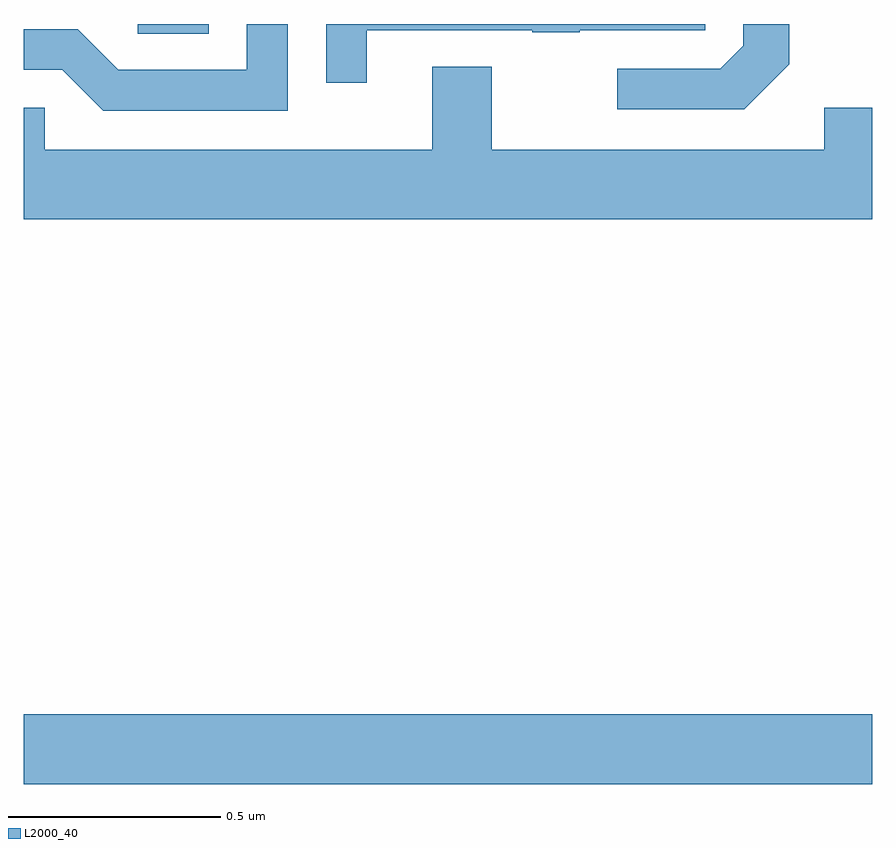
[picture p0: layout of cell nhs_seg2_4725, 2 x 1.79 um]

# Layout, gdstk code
import gdstk
lib = gdstk.Library(unit=1e-6, precision=1e-09)
def R(c, l, rs):  # rectangles x0, y0, x1, y1
    for r in rs: c.add(gdstk.rectangle(r[:2], r[2:], *l))
def P(c, l, *ps):  # polygons
    for p in ps: c.add(gdstk.Polygon(p, *l))
L2000_40 = (2000, 40)

nhs_seg2_4725 = lib.new_cell('nhs_seg2_4725')
R(nhs_seg2_4725, L2000_40, [(170,609.008,172,609.172), (170.268,610.777,170.436,610.8)])
P(nhs_seg2_4725, L2000_40, [(170.622,610.8),(170.526,610.8),(170.526,610.692),(170.223,610.692),(170.127,610.788),(170,610.788),(170,610.692),(170.091,610.692),(170.187,610.596),(170.622,610.596)],
  [(170.809,610.785),(171.199,610.785),(171.199,610.78),(171.311,610.78),(171.311,610.785),(171.606,610.785),(171.606,610.8),(170.713,610.8),(170.713,610.662),(170.809,610.662)],
  [(171.805,610.705),(171.805,610.8),(171.696,610.8),(171.696,610.749),(171.642,610.695),(171.399,610.695),(171.399,610.599),(171.699,610.599)],
  [(172,610.603),(171.887,610.603),(171.887,610.504),(171.103,610.504),(171.103,610.699),(170.963,610.699),(170.963,610.504),(170.049,610.504),(170.049,610.602),(170,610.602),(170,610.34),(172,610.34)])

lib.write_gds('nhs_seg2_4725.gds')
